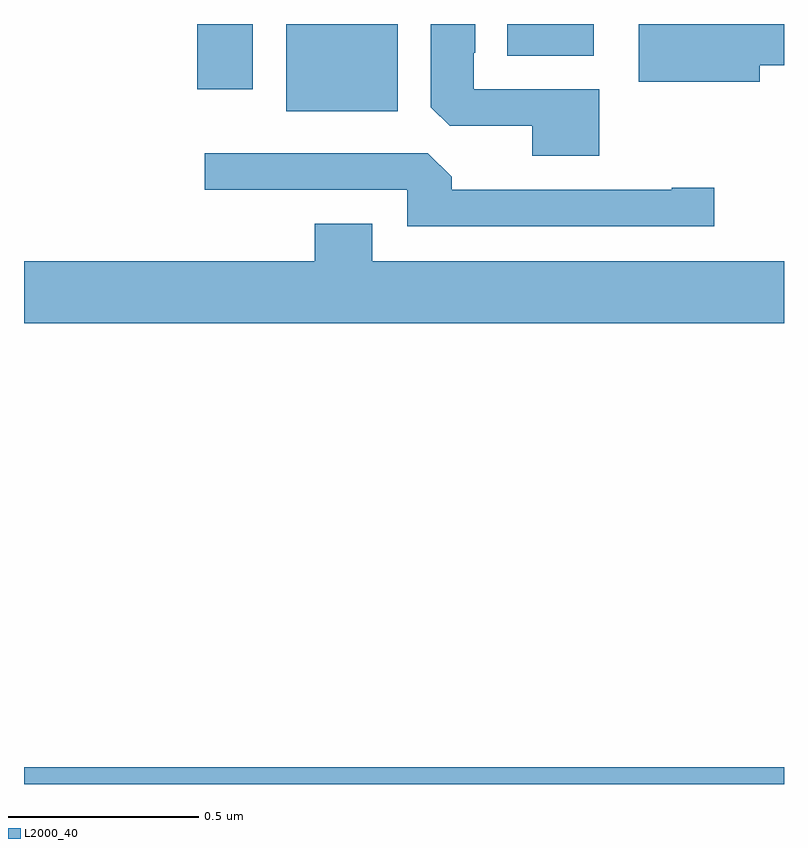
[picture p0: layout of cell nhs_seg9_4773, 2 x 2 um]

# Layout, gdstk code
import gdstk
lib = gdstk.Library(unit=1e-6, precision=1e-09)
def R(c, l, rs):  # rectangles x0, y0, x1, y1
    for r in rs: c.add(gdstk.rectangle(r[:2], r[2:], *l))
def P(c, l, *ps):  # polygons
    for p in ps: c.add(gdstk.Polygon(p, *l))
L2000_40 = (2000, 40)

nhs_seg9_4773 = lib.new_cell('nhs_seg9_4773')
R(nhs_seg9_4773, L2000_40, [(170,1236.5,172,1236.544), (170.69,1238.27,170.983,1238.5), (170.456,1238.328,170.602,1238.5), (171.272,1238.417,171.499,1238.5)])
P(nhs_seg9_4773, L2000_40, [(171.514,1238.328),(171.183,1238.328),(171.183,1238.425),(171.187,1238.425),(171.187,1238.5),(171.071,1238.5),(171.071,1238.281),(171.12,1238.232),(171.338,1238.232),(171.338,1238.153),(171.514,1238.153)],
  [(171.936,1238.392),(172,1238.392),(172,1238.5),(171.618,1238.5),(171.618,1238.348),(171.936,1238.348)],
  [(171.817,1238.069),(171.704,1238.069),(171.704,1238.064),(171.125,1238.064),(171.125,1238.098),(171.063,1238.16),(170.475,1238.16),(170.475,1238.064),(171.009,1238.064),(171.009,1237.968),(171.817,1237.968)],
  [(172,1237.876),(170.917,1237.876),(170.917,1237.975),(170.765,1237.975),(170.765,1237.876),(170,1237.876),(170,1237.712),(172,1237.712)])

lib.write_gds('nhs_seg9_4773.gds')
